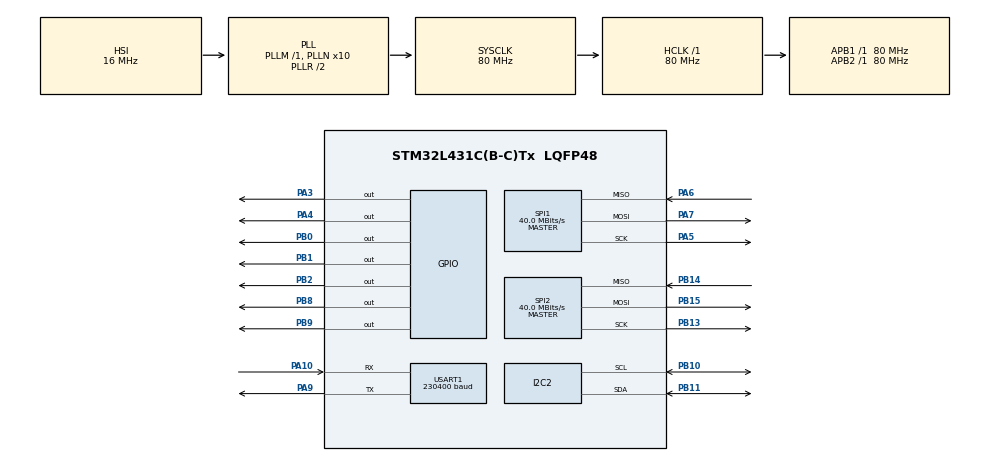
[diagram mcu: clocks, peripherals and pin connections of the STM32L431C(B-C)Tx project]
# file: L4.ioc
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FREERTOS.Tasks01=defaultTask,24,512,StartDefaultTask,Default,NULL,Dynamic,NULL,NULL;myTask02,8,256,StartTask02,Default,NULL,Dynamic,NULL,NULL
FREERTOS.configTOTAL_HEAP_SIZE=4096
I2C2.CustomTiming=Disabled
I2C2.I2C_Fall_Time=300
I2C2.I2C_Rise_Time=1000
I2C2.Timing=0x60E32C34
Mcu.Family=STM32L4
Mcu.Name=STM32L431C(B-C)Tx
Mcu.Package=LQFP48
NVIC.PriorityGroup=NVIC_PRIORITYGROUP_4
NVIC.TIM1_BRK_TIM15_IRQn=true\:15\:0\:false\:false\:true\:false\:false\:true\:true
NVIC.TimeBase=TIM1_BRK_TIM15_IRQn
NVIC.TimeBaseIP=TIM15
PA10.Mode=Asynchronous
PA10.Signal=USART1_RX
PA3.Signal=GPIO_Output
PA4.Signal=GPIO_Output
PA5.Mode=Full_Duplex_Master
PA5.Signal=SPI1_SCK
PA6.Mode=Full_Duplex_Master
PA6.Signal=SPI1_MISO
PA7.Mode=Full_Duplex_Master
PA7.Signal=SPI1_MOSI
PA9.Mode=Asynchronous
PA9.Signal=USART1_TX
PB0.Signal=GPIO_Output
PB1.Signal=GPIO_Output
PB10.Mode=I2C
PB10.Signal=I2C2_SCL
PB11.Mode=I2C
PB11.Signal=I2C2_SDA
PB13.Mode=Full_Duplex_Master
PB13.Signal=SPI2_SCK
PB14.Mode=Full_Duplex_Master
PB14.Signal=SPI2_MISO
PB15.Mode=Full_Duplex_Master
PB15.Signal=SPI2_MOSI
PB2.Signal=GPIO_Output
PB8.Signal=GPIO_Output
PB9.Signal=GPIO_Output
PC14-OSC32_IN\ (PC14).Mode=LSE-External-Oscillator
PC14-OSC32_IN\ (PC14).Signal=RCC_OSC32_IN
PC15-OSC32_OUT\ (PC15).Mode=LSE-External-Oscillator
PC15-OSC32_OUT\ (PC15).Signal=RCC_OSC32_OUT
ProjectManager.HeapSize=0x200
ProjectManager.StackSize=0x400
ProjectManager.TargetToolchain=Makefile
RCC.ADCFreq_Value=64000000
RCC.AHBFreq_Value=80000000
RCC.APB1Freq_Value=80000000
RCC.APB1TimFreq_Value=80000000
RCC.APB2Freq_Value=80000000
RCC.APB2TimFreq_Value=80000000
RCC.CortexFreq_Value=80000000
RCC.HCLKFreq_Value=80000000
RCC.HSE_VALUE=8000000
RCC.HSI48_VALUE=48000000
RCC.HSI_VALUE=16000000
RCC.MSI_VALUE=4000000
RCC.PLLN=10
RCC.PLLSourceVirtual=RCC_PLLSOURCE_HSI
RCC.RTCClockSelection=RCC_RTCCLKSOURCE_LSE
RCC.SYSCLKFreq_VALUE=80000000
RCC.SYSCLKSource=RCC_SYSCLKSOURCE_PLLCLK
RCC.VCOOutputFreq_Value=160000000
SPI1.BaudRatePrescaler=SPI_BAUDRATEPRESCALER_2
SPI1.CalculateBaudRate=40.0 MBits/s
SPI1.DataSize=SPI_DATASIZE_8BIT
SPI1.Direction=SPI_DIRECTION_2LINES
SPI1.Mode=SPI_MODE_MASTER
SPI1.VirtualType=VM_MASTER
SPI2.BaudRatePrescaler=SPI_BAUDRATEPRESCALER_2
SPI2.CalculateBaudRate=40.0 MBits/s
SPI2.DataSize=SPI_DATASIZE_8BIT
SPI2.Direction=SPI_DIRECTION_2LINES
SPI2.Mode=SPI_MODE_MASTER
SPI2.VirtualType=VM_MASTER
USART1.BaudRate=230400
USART1.VirtualMode-Asynchronous=VM_ASYNC
VP_FREERTOS_VS_CMSIS_V2.Mode=CMSIS_V2
VP_RTC_VS_RTC_Activate.Mode=RTC_Enabled
VP_SYS_VS_tim15.Mode=TIM15
board=custom

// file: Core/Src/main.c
/* USER CODE BEGIN Header */
/**
  ******************************************************************************
  * @file           : main.c
  * @brief          : Main program body
  ******************************************************************************
  * @attention
  *
  * Copyright (c) 2026 STMicroelectronics.
  * All rights reserved.
  *
  * This software is licensed under terms that can be found in the LICENSE file
  * in the root directory of this software component.
  * If no LICENSE file comes with this software, it is provided AS-IS.
  *
  ******************************************************************************
  */
/* USER CODE END Header */
#include "main.h"
#include "cmsis_os.h"
#include "i2c.h"
#include "rtc.h"
#include "spi.h"
#include "usart.h"
#include "gpio.h"

/* USER CODE BEGIN Includes */
#include "st7735.h"
#include <string.h>
#include <stdio.h>

#include "flashdb.h"
#include "fal.h"

#include "w25q64.h"
#include "fdb_cfg.h"
#include "flashdb.h"
#include "lcd_text.h"
/* USER CODE END Includes */

/* USER CODE BEGIN PTD */

static struct fdb_kvdb kvdb;

static struct fdb_default_kv_node default_kv_nodes[] = {
    {"name", "solar"},
    {"mode", "1"},
};

static struct fdb_default_kv default_kv_table = {
    .kvs = default_kv_nodes,
    .num = sizeof(default_kv_nodes) / sizeof(default_kv_nodes[0]),
};

static fdb_err_t MX_FlashDB_Init(void)
{
    fdb_err_t result;

    result = fal_init();
    if (result != FDB_NO_ERR)
    {
        return result;
    }

    result = fdb_kvdb_init(&kvdb, "kvdb1", "fdb_kv", &default_kv_table, NULL);
    return result;
}
/* USER CODE END PTD */

void SystemClock_Config(void);
void MX_FREERTOS_Init(void);

/* USER CODE BEGIN 0 */
void UART1_SendString(char *str)
{
    HAL_UART_Transmit(&huart1, (uint8_t *)str, strlen(str), HAL_MAX_DELAY);
}
/* USER CODE END 0 */

int main(void)
{

  /* MCU Configuration--------------------------------------------------------*/

  /* Reset of all peripherals, Initializes the Flash interface and the Systick. */
  HAL_Init();

  /* Configure the system clock */
  SystemClock_Config();

  /* Initialize all configured peripherals */
  MX_GPIO_Init();
  MX_SPI1_Init();
  MX_I2C2_Init();
  MX_USART1_UART_Init();
  MX_SPI2_Init();
  MX_RTC_Init();
  /* USER CODE BEGIN 2 */
HAL_Delay(100);

ST7735_Init();
ST7735_FillScreen(ST7735_WHITE);

uint8_t cc = 1;
char msg[128] = {0};
char *value = NULL;
uint8_t mid = 0, type = 0, capacity = 0;
fdb_err_t result_fal;
fdb_err_t result_kv;
fdb_err_t result_set;

/* 0. 先读 JEDEC ID，确认 W25Q64 底层正常 */
W25Q64_Init();
W25Q64_ReadJEDECID(&mid, &type, &capacity);
snprintf(msg, sizeof(msg), "JEDEC: %02X %02X %02X\r\n", mid, type, capacity);
HAL_UART_Transmit(&huart1, (uint8_t *)msg, strlen(msg), HAL_MAX_DELAY);

/* 1. 单独初始化 FAL */
result_fal = fal_init();
snprintf(msg, sizeof(msg), "fal_init = %d\r\n", result_fal);
HAL_UART_Transmit(&huart1, (uint8_t *)msg, strlen(msg), HAL_MAX_DELAY);
const struct fal_partition *part;
uint8_t test_wbuf[16] = "hello_flashdb";
uint8_t test_rbuf[16] = {0};
int rlen, wlen, elen;

/* 找分区 */
part = fal_partition_find("fdb_kv");
if (part == NULL)
{
    snprintf(msg, sizeof(msg), "partition find failed\r\n");
    HAL_UART_Transmit(&huart1, (uint8_t *)msg, strlen(msg), HAL_MAX_DELAY);
}
else
{
    snprintf(msg, sizeof(msg), "partition ok: len=%ld\r\n", part->len);
    HAL_UART_Transmit(&huart1, (uint8_t *)msg, strlen(msg), HAL_MAX_DELAY);

    /* 先擦除前4KB */
    elen = fal_partition_erase(part, 0, 4096);
    snprintf(msg, sizeof(msg), "erase ret = %d\r\n", elen);
    HAL_UART_Transmit(&huart1, (uint8_t *)msg, strlen(msg), HAL_MAX_DELAY);

    /* 再写 */
    wlen = fal_partition_write(part, 0, test_wbuf, sizeof(test_wbuf));
    snprintf(msg, sizeof(msg), "write ret = %d\r\n", wlen);
    HAL_UART_Transmit(&huart1, (uint8_t *)msg, strlen(msg), HAL_MAX_DELAY);

    /* 再读 */
    rlen = fal_partition_read(part, 0, test_rbuf, sizeof(test_rbuf));
    snprintf(msg, sizeof(msg), "read ret = %d, data = %s\r\n", rlen, test_rbuf);
    HAL_UART_Transmit(&huart1, (uint8_t *)msg, strlen(msg), HAL_MAX_DELAY);
}
/* 2. 单独初始化 KVDB */
result_kv = fdb_kvdb_init(&kvdb, "kvdb1", "fdb_kv", &default_kv_table, NULL);
snprintf(msg, sizeof(msg), "fdb_kvdb_init = %d\r\n", result_kv);
HAL_UART_Transmit(&huart1, (uint8_t *)msg, strlen(msg), HAL_MAX_DELAY);

/* 3. 写入一个键值 */
result_set = fdb_kv_set(&kvdb, "name", "solar123");
snprintf(msg, sizeof(msg), "fdb_kv_set = %d\r\n", result_set);
HAL_UART_Transmit(&huart1, (uint8_t *)msg, strlen(msg), HAL_MAX_DELAY);

/* 4. 读取这个键值 */
value = fdb_kv_get(&kvdb, "name");
if (value != NULL)
{
    snprintf(msg, sizeof(msg), "name = %s\r\n", value);
}
else
{
    snprintf(msg, sizeof(msg), "read failed\r\n");
}
HAL_UART_Transmit(&huart1, (uint8_t *)msg, strlen(msg), HAL_MAX_DELAY);

    char *c12 = NULL;
    //har *value = NULL;
    fdb_kv_set(&kvdb, "status", "running");
    c12 = fdb_kv_get(&kvdb, "status");
    if (c12 != NULL)
    {
      /* code */
      snprintf(msg, sizeof(msg), "status = %s\r\n", c12);
    }
    else
    {
      snprintf(msg, sizeof(msg), "read status failed\r\n");
    }
    HAL_UART_Transmit(&huart1, (uint8_t *)msg, strlen(msg), HAL_MAX_DELAY);

  /* USER CODE END 2 */

  /* Init scheduler */
  osKernelInitialize();  /* Call init function for freertos objects (in cmsis_os2.c) */
  MX_FREERTOS_Init();

  /* Start scheduler */
  osKernelStart();

  /* We should never get here as control is now taken by the scheduler */

  /* Infinite loop */
  /* USER CODE BEGIN WHILE */
  while (1)
  {
  LCD_ShowUInt(0, 80, cc, ST7735_BLACK, ST7735_WHITE);
  cc++;
  HAL_Delay(500);
    /* USER CODE END WHILE */

  }
}

void SystemClock_Config(void)
{
  RCC_OscInitTypeDef RCC_OscInitStruct = {0};
  RCC_ClkInitTypeDef RCC_ClkInitStruct = {0};

  /** Configure the main internal regulator output voltage
  */
  if (HAL_PWREx_ControlVoltageScaling(PWR_REGULATOR_VOLTAGE_SCALE1) != HAL_OK)
  {
    Error_Handler();
  }

  /** Configure LSE Drive Capability
  */
  HAL_PWR_EnableBkUpAccess();
  __HAL_RCC_LSEDRIVE_CONFIG(RCC_LSEDRIVE_LOW);

  /** Initializes the RCC Oscillators according to the specified parameters
  * in the RCC_OscInitTypeDef structure.
  */
  RCC_OscInitStruct.OscillatorType = RCC_OSCILLATORTYPE_HSI|RCC_OSCILLATORTYPE_LSE;
  RCC_OscInitStruct.LSEState = RCC_LSE_ON;
  RCC_OscInitStruct.HSIState = RCC_HSI_ON;
  RCC_OscInitStruct.HSICalibrationValue = RCC_HSICALIBRATION_DEFAULT;
  RCC_OscInitStruct.PLL.PLLState = RCC_PLL_ON;
  RCC_OscInitStruct.PLL.PLLSource = RCC_PLLSOURCE_HSI;
  RCC_OscInitStruct.PLL.PLLM = 1;
  RCC_OscInitStruct.PLL.PLLN = 10;
  RCC_OscInitStruct.PLL.PLLP = RCC_PLLP_DIV7;
  RCC_OscInitStruct.PLL.PLLQ = RCC_PLLQ_DIV2;
  RCC_OscInitStruct.PLL.PLLR = RCC_PLLR_DIV2;
  if (HAL_RCC_OscConfig(&RCC_OscInitStruct) != HAL_OK)
  {
    Error_Handler();
  }

  /** Initializes the CPU, AHB and APB buses clocks
  */
  RCC_ClkInitStruct.ClockType = RCC_CLOCKTYPE_HCLK|RCC_CLOCKTYPE_SYSCLK
                              |RCC_CLOCKTYPE_PCLK1|RCC_CLOCKTYPE_PCLK2;
  RCC_ClkInitStruct.SYSCLKSource = RCC_SYSCLKSOURCE_PLLCLK;
  RCC_ClkInitStruct.AHBCLKDivider = RCC_SYSCLK_DIV1;
  RCC_ClkInitStruct.APB1CLKDivider = RCC_HCLK_DIV1;
  RCC_ClkInitStruct.APB2CLKDivider = RCC_HCLK_DIV1;

  if (HAL_RCC_ClockConfig(&RCC_ClkInitStruct, FLASH_LATENCY_4) != HAL_OK)
  {
    Error_Handler();
  }
}

void HAL_TIM_PeriodElapsedCallback(TIM_HandleTypeDef *htim)
{
  if (htim->Instance == TIM15)
  {
    HAL_IncTick();
  }
}

void Error_Handler(void)
{
  __disable_irq();
  while (1)
  {
  }
}

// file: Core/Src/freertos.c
/* USER CODE BEGIN Header */
/**
  ******************************************************************************
  * File Name          : freertos.c
  * Description        : Code for freertos applications
  ******************************************************************************
  * @attention
  *
  * Copyright (c) 2026 STMicroelectronics.
  * All rights reserved.
  *
  * This software is licensed under terms that can be found in the LICENSE file
  * in the root directory of this software component.
  * If no LICENSE file comes with this software, it is provided AS-IS.
  *
  ******************************************************************************
  */
/* USER CODE END Header */

#include "FreeRTOS.h"
#include "task.h"
#include "main.h"
#include "cmsis_os.h"

/* USER CODE BEGIN Includes */
#include "st7735.h"
#include "lcd_text.h"
#include "aht30.h"
#include "rtc.h"
#include "flashdb.h"
#include "usart.h"
#include "fal.h"
#include <stdio.h>
#include <string.h>
/* USER CODE END Includes */

/* USER CODE BEGIN Variables */
static struct fdb_tsdb tsdb;
static uint8_t tsdb_inited = 0;

typedef struct
{
    int temp;
    int humi;
} sensor_log_t;

/* RTC -> 时间戳（简化版，保证单调递增即可） */
static fdb_time_t tsdb_get_time(void)
{
    RTC_TimeTypeDef sTime = {0};
    RTC_DateTypeDef sDate = {0};

    HAL_RTC_GetTime(&hrtc, &sTime, RTC_FORMAT_BIN);
    HAL_RTC_GetDate(&hrtc, &sDate, RTC_FORMAT_BIN);

    return (fdb_time_t)(sTime.Hours * 3600 + sTime.Minutes * 60 + sTime.Seconds);
}

static fdb_err_t MX_TSDB_Init(void)
{
    return fdb_tsdb_init(&tsdb, "tsdb1", "fdb_ts", tsdb_get_time, sizeof(sensor_log_t), NULL);
}

static void TSDB_Append_One(int temp, int humi)
{
    sensor_log_t log_data;
    struct fdb_blob blob;

    log_data.temp = temp;
    log_data.humi = humi;

    fdb_tsl_append(&tsdb, fdb_blob_make(&blob, &log_data, sizeof(log_data)));
}

static bool tsdb_query_cb(fdb_tsl_t tsl, void *arg)
{
    sensor_log_t log_data;
    struct fdb_blob blob;
    char msg[128];

    fdb_blob_read((fdb_db_t)&tsdb,
                  fdb_tsl_to_blob(tsl, fdb_blob_make(&blob, &log_data, sizeof(log_data))));

    snprintf(msg, sizeof(msg),
             "TSDB: ts=%ld temp=%d humi=%d\r\n",
             (long)tsl->time,
             log_data.temp,
             log_data.humi);

    HAL_UART_Transmit(&huart1, (uint8_t *)msg, strlen(msg), HAL_MAX_DELAY);

    return false;
}

static void TSDB_Read_All(void)
{
    fdb_tsl_iter(&tsdb, tsdb_query_cb, NULL);
}
/* USER CODE END Variables */
/* Definitions for defaultTask */
osThreadId_t defaultTaskHandle;
const osThreadAttr_t defaultTask_attributes = {
  .name = "defaultTask",
  .stack_size = 512 * 4,
  .priority = (osPriority_t) osPriorityNormal,
};
/* Definitions for myTask02 */
osThreadId_t myTask02Handle;
const osThreadAttr_t myTask02_attributes = {
  .name = "myTask02",
  .stack_size = 256 * 4,
  .priority = (osPriority_t) osPriorityLow,
};

void StartDefaultTask(void *argument);
void StartTask02(void *argument);

void MX_FREERTOS_Init(void); /* (MISRA C 2004 rule 8.1) */

void MX_FREERTOS_Init(void) {

  /* Create the thread(s) */
  /* creation of defaultTask */
  defaultTaskHandle = osThreadNew(StartDefaultTask, NULL, &defaultTask_attributes);

  /* creation of myTask02 */
  myTask02Handle = osThreadNew(StartTask02, NULL, &myTask02_attributes);

}

void StartDefaultTask(void *argument)
{
  /* USER CODE BEGIN StartDefaultTask */
  char buf[32];
  char msg[128];
  RTC_TimeTypeDef sTime = {0};
  RTC_DateTypeDef sDate = {0};
  uint32_t sample_cnt = 0;
  uint8_t last_log_sec = 255;
  fdb_err_t ts_ret;

  LCD_ClearArea(0, 0, 80, 80, ST7735_BLACK);

  ts_ret = MX_TSDB_Init();
  snprintf(msg, sizeof(msg), "fdb_tsdb_init = %d\r\n", ts_ret);
  HAL_UART_Transmit(&huart1, (uint8_t *)msg, strlen(msg), HAL_MAX_DELAY);

  if (ts_ret == FDB_NO_ERR)
  {
      tsdb_inited = 1;
  }

  for(;;)
  {
    HAL_RTC_GetTime(&hrtc, &sTime, RTC_FORMAT_BIN);
    HAL_RTC_GetDate(&hrtc, &sDate, RTC_FORMAT_BIN);

    snprintf(buf, sizeof(buf),
             "20%02d-%02d-%02d %02d:%02d:%02d\r\n",
             sDate.Year, sDate.Month, sDate.Date,
             sTime.Hours, sTime.Minutes, sTime.Seconds);

    LCD_ShowString(0, 0, buf, ST7735_YELLOW, ST7735_BLACK);

    if (tsdb_inited && (sTime.Seconds % 5 == 0) && (sTime.Seconds != last_log_sec))
    {
        int temp_demo = 250 + sample_cnt;
        int humi_demo = 600 + sample_cnt;
        fdb_err_t append_ret;
        sensor_log_t log_data;
        struct fdb_blob blob;

        log_data.temp = temp_demo;
        log_data.humi = humi_demo;

        append_ret = fdb_tsl_append(&tsdb, fdb_blob_make(&blob, &log_data, sizeof(log_data)));

        snprintf(msg, sizeof(msg),
                 "append ret=%d temp=%d humi=%d sec=%d\r\n",
                 append_ret, temp_demo, humi_demo, sTime.Seconds);
        HAL_UART_Transmit(&huart1, (uint8_t *)msg, strlen(msg), HAL_MAX_DELAY);

        sample_cnt++;
        last_log_sec = sTime.Seconds;

        if (sample_cnt == 3)
        {
            HAL_UART_Transmit(&huart1, (uint8_t *)"read all tsdb\r\n",
                              strlen("read all tsdb\r\n"), HAL_MAX_DELAY);
            TSDB_Read_All();
        }
    }

    if (sTime.Seconds % 5 != 0)
    {
        last_log_sec = 255;
    }

    osDelay(1000);
  }
  /* USER CODE END StartDefaultTask */
}

void StartTask02(void *argument)
{
  /* USER CODE BEGIN StartTask02 */
  uint8_t cc = 1;
  /* Infinite loop */
  for(;;)
  {
    //LCD_ShowUInt(0, 80, cc, ST7735_GREEN, ST7735_WHITE);
    osDelay(100);
    HAL_GPIO_TogglePin(GPIOB, GPIO_PIN_9);
    cc++;

  }
  /* USER CODE END StartTask02 */
}
